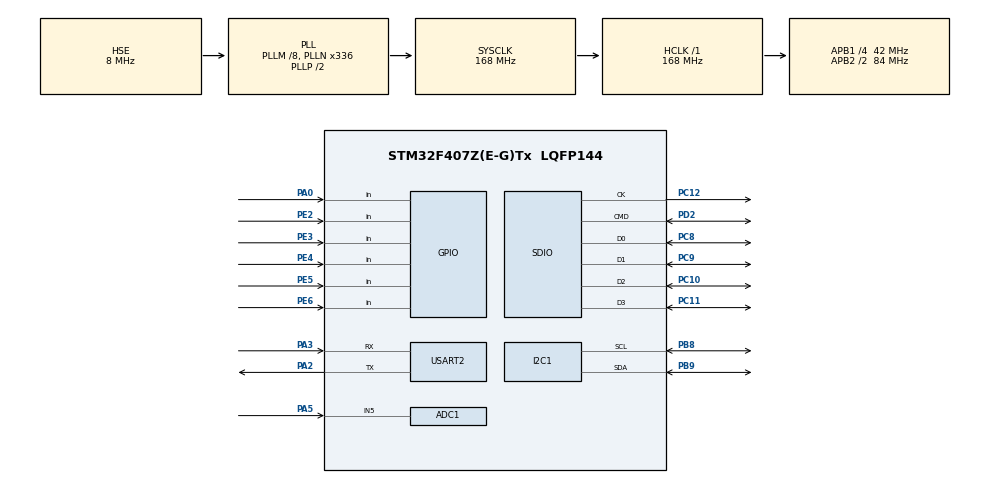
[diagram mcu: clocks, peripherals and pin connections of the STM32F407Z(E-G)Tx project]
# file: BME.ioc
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ADC1.Channel-2\#ChannelRegularConversion=ADC_CHANNEL_5
ADC1.DMAContinuousRequests=ENABLE
ADC1.EnableAnalogWatchDog=false
ADC1.ExternalTrigConv=ADC_EXTERNALTRIGCONV_T2_TRGO
ADC1.InjNumberOfConversion=0
ADC1.NbrOfConversion=1
ADC1.NbrOfConversionFlag=1
ADC1.Rank-2\#ChannelRegularConversion=1
ADC1.SamplingTime-2\#ChannelRegularConversion=ADC_SAMPLETIME_480CYCLES
ADC1.master=1
Dma.ADC1.0.Direction=DMA_PERIPH_TO_MEMORY
Dma.ADC1.0.FIFOMode=DMA_FIFOMODE_DISABLE
Dma.ADC1.0.Instance=DMA2_Stream0
Dma.ADC1.0.MemDataAlignment=DMA_MDATAALIGN_HALFWORD
Dma.ADC1.0.MemInc=DMA_MINC_ENABLE
Dma.ADC1.0.Mode=DMA_CIRCULAR
Dma.ADC1.0.PeriphDataAlignment=DMA_PDATAALIGN_HALFWORD
Dma.ADC1.0.PeriphInc=DMA_PINC_DISABLE
Dma.ADC1.0.Priority=DMA_PRIORITY_LOW
Dma.Request0=ADC1
FREERTOS.Mutexes01=i2c1Mutex,Dynamic,NULL
FREERTOS.Tasks01=defaultTask,24,128,StartDefaultTask,Default,NULL,Dynamic,NULL,NULL;MAXtask,40,512,StartTask02,Default,NULL,Dynamic,NULL,NULL;watchdogtask,32,256,StartTask03,Default,NULL,Dynamic,NULL,NULL;Uitask,24,384,StartTask04,Default,NULL,Dynamic,NULL,NULL;SDtask,8,1024,StartTask05,Default,NULL,Dynamic,NULL,NULL
FREERTOS.configCHECK_FOR_STACK_OVERFLOW=2
FREERTOS.configENABLE_FPU=1
FREERTOS.configTOTAL_HEAP_SIZE=32768
FREERTOS.configUSE_MALLOC_FAILED_HOOK=1
FREERTOS.configUSE_OS2_EVENTFLAGS_FROM_ISR=0
FREERTOS.configUSE_OS2_TIMER=0
FREERTOS.configUSE_POSIX_ERRNO=0
I2C1.I2C_Mode=I2C_Fast
IWDG.Prescaler=IWDG_PRESCALER_64
IWDG.Reload=3999
Mcu.Family=STM32F4
Mcu.Name=STM32F407Z(E-G)Tx
Mcu.Package=LQFP144
NVIC.DMA2_Stream0_IRQn=true\:5\:0\:false\:false\:true\:true\:false\:true
NVIC.PriorityGroup=NVIC_PRIORITYGROUP_4
NVIC.TIM6_DAC_IRQn=true\:5\:0\:false\:false\:true\:true\:true\:true
NVIC.TIM7_IRQn=true\:15\:0\:false\:false\:true\:false\:false\:true
NVIC.TimeBase=TIM7_IRQn
NVIC.TimeBaseIP=TIM7
PA0-WKUP.GPIO_PuPd=GPIO_PULLDOWN
PA0-WKUP.Signal=GPIO_Input
PA13.Mode=Serial_Wire
PA13.Signal=SYS_JTMS-SWDIO
PA14.Mode=Serial_Wire
PA14.Signal=SYS_JTCK-SWCLK
PA2.Mode=Asynchronous
PA2.Signal=USART2_TX
PA3.Mode=Asynchronous
PA3.Signal=USART2_RX
PA5.Signal=ADCx_IN5
PB8.Mode=I2C
PB8.Signal=I2C1_SCL
PB9.Mode=I2C
PB9.Signal=I2C1_SDA
PC10.Mode=SD_4_bits_Wide_bus
PC10.Signal=SDIO_D2
PC11.Mode=SD_4_bits_Wide_bus
PC11.Signal=SDIO_D3
PC12.Mode=SD_4_bits_Wide_bus
PC12.Signal=SDIO_CK
PC14-OSC32_IN.Mode=LSE-External-Oscillator
PC14-OSC32_IN.Signal=RCC_OSC32_IN
PC15-OSC32_OUT.Mode=LSE-External-Oscillator
PC15-OSC32_OUT.Signal=RCC_OSC32_OUT
PC8.Mode=SD_4_bits_Wide_bus
PC8.Signal=SDIO_D0
PC9.Mode=SD_4_bits_Wide_bus
PC9.Signal=SDIO_D1
PD2.Mode=SD_4_bits_Wide_bus
PD2.Signal=SDIO_CMD
PE2.GPIO_PuPd=GPIO_PULLUP
PE2.Signal=GPIO_Input
PE3.GPIO_PuPd=GPIO_PULLUP
PE3.Signal=GPIO_Input
PE4.GPIO_PuPd=GPIO_PULLUP
PE4.Signal=GPIO_Input
PE5.GPIO_PuPd=GPIO_NOPULL
PE5.Signal=GPIO_Input
PE6.Signal=GPIO_Input
PH0-OSC_IN.Mode=HSE-External-Oscillator
PH0-OSC_IN.Signal=RCC_OSC_IN
PH1-OSC_OUT.Mode=HSE-External-Oscillator
PH1-OSC_OUT.Signal=RCC_OSC_OUT
ProjectManager.HeapSize=0x200
ProjectManager.StackSize=0x400
ProjectManager.TargetToolchain=MDK-ARM V5.32
RCC.48MHZClocksFreq_Value=48000000
RCC.AHBFreq_Value=168000000
RCC.APB1CLKDivider=RCC_HCLK_DIV4
RCC.APB1Freq_Value=42000000
RCC.APB1TimFreq_Value=84000000
RCC.APB2CLKDivider=RCC_HCLK_DIV2
RCC.APB2Freq_Value=84000000
RCC.APB2TimFreq_Value=168000000
RCC.CortexFreq_Value=168000000
RCC.HCLKFreq_Value=168000000
RCC.HSE_VALUE=8000000
RCC.HSI_VALUE=16000000
RCC.PLLM=8
RCC.PLLN=336
RCC.PLLQ=7
RCC.PLLSourceVirtual=RCC_PLLSOURCE_HSE
RCC.RCC_RTC_Clock_Source=RCC_RTCCLKSOURCE_LSE
RCC.RCC_RTC_Clock_SourceVirtual=RCC_RTCCLKSOURCE_LSE
RCC.SYSCLKFreq_VALUE=168000000
RCC.SYSCLKSource=RCC_SYSCLKSOURCE_PLLCLK
RCC.VCOOutputFreq_Value=336000000
RTC.Date=3
RTC.Month=RTC_MONTH_JANUARY
RTC.WeekDay=RTC_WEEKDAY_MONDAY
SH.ADCx_IN5.0=ADC1_IN5,IN5
TIM2.Period=39
TIM2.Prescaler=8399
TIM2.TIM_MasterOutputTrigger=TIM_TRGO_UPDATE
TIM6.AutoReloadPreload=TIM_AUTORELOAD_PRELOAD_DISABLE
TIM6.Period=99
TIM6.Prescaler=8399
USART2.VirtualMode=VM_ASYNC
VP_FREERTOS_VS_CMSIS_V2.Mode=CMSIS_V2
VP_IWDG_VS_IWDG.Mode=IWDG_Activate
VP_RTC_VS_RTC_Activate.Mode=RTC_Enabled
VP_RTC_VS_RTC_Calendar.Mode=RTC_Calendar
VP_SYS_VS_tim7.Mode=TIM7
VP_TIM2_VS_ClockSourceINT.Mode=Internal
VP_TIM6_VS_ClockSourceINT.Mode=Enable_Timer
board=custom

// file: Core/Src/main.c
/* USER CODE BEGIN Header */
/**
  ******************************************************************************
  * @file           : main.c
  * @brief          : 系统启动、自检与 RTOS 调度器移交入口
  *
  * 启动顺序：HAL/时钟/外设初始化 → 读取复位与崩溃诊断 → 恢复 I2C 总线 →
  * 初始化 EEPROM、OLED 与 MAX30102 → 采集无手指基线 → 启动 ECG ADC DMA →
  * 绑定 AppState 并启动 FreeRTOS。调度器运行后，采集、界面、存储和看门狗
  * 分别由 freertos.c 中的任务负责，本文件不再承担周期业务调度。
  * @attention
  *
  * <h2><center>&copy; Copyright (c) 2026 STMicroelectronics.
  * All rights reserved.</center></h2>
  *
  * This software component is licensed by ST under BSD 3-Clause license,
  * the "License"; You may not use this file except in compliance with the
  * License. You may obtain a copy of the License at:
  *                        opensource.org/licenses/BSD-3-Clause
  *
  ******************************************************************************
  */
/* USER CODE END Header */
#include "main.h"
#include "cmsis_os.h"
#include "adc.h"
#include "dma.h"
#include "i2c.h"
#include "iwdg.h"
#include "rtc.h"
#include "sdio.h"
#include "tim.h"
#include "usart.h"
#include "gpio.h"

/* USER CODE BEGIN Includes */
#include <stdio.h>
#include <string.h>

#include "adc.h"
#include "app_data_log.h"
#include "app_display.h"
#include "app_ecg.h"
#include "app_measurement.h"
#include "app_protocol.h"
#include "app_rtos.h"
#include "app_runtime.h"
#include "app_sched_diag.h"
#include "app_sd_card.h"
#include "iwdg.h"
#include "max30102.h"
#include "ssd1306.h"
#include "app_diag.h"
#include "eeprom_store.h"
/* USER CODE END Includes */

/* USER CODE BEGIN PD */
#define APP_MAIN_LOOP_DELAY_MS      5U     /* 启动阶段基线采集轮询间隔，单位：ms */
#define APP_SENSOR_DRAIN_BUDGET     24U    /* 保留的兼容配置；运行期批量预算由测量模块管理 */
#define APP_SENSOR_BOOT_RETRY_MS    1000U  /* MAX30102 启动失败后的重试间隔，单位：ms */
#define APP_DISPLAY_SKIP_THRESHOLD  8U     /* 保留的兼容配置；运行期显示门控位于 UI 任务 */
/* USER CODE END PD */

/* USER CODE BEGIN PV */
volatile uint8_t  tim6_tick_flag = 0;          /* 100 Hz 节拍到达标志，ISR 写、任务侧诊断读取 */
static volatile uint32_t tim6_isr_count = 0U;  /* TIM6 ISR 累计次数，用于调度活性诊断 */
static AppState_t app;                         /* 各 RTOS 任务共享的应用状态唯一实例 */
/* USER CODE END PV */

void SystemClock_Config(void);
void MX_FREERTOS_Init(void);
/* USER CODE BEGIN PFP */
/** @brief 清零共享状态，并初始化测量、显示和串口协议子模块。 */
static void app_state_init(AppState_t *app);
/* USER CODE END PFP */

/* USER CODE BEGIN 0 */
/**
 * @brief  初始化共享 AppState 与不访问硬件的子模块状态。
 * @param  app 应用状态实例；为 NULL 时不执行任何操作。
 * @note   此时调度器尚未启动，不存在任务并发访问。
 */
static void app_state_init(AppState_t *app)
{
  if (app == NULL)
  {
    return;
  }

  (void)memset(app, 0, sizeof(*app));
  app_measurement_init_state(app);
  app_display_init_state(app);
  app_protocol_init();
}

/* USER CODE END 0 */

int main(void)
{
  /* USER CODE BEGIN 1 */
  char status_line[32];
  uint32_t last_status_tick;
  HAL_StatusTypeDef sensor_init_status;
  HAL_StatusTypeDef sensor_probe_status;
  uint32_t sensor_init_i2c_error;
  uint32_t sensor_init_retry_count;
  uint8_t sensor_part_id;
  /* USER CODE END 1 */

  /* MCU Configuration--------------------------------------------------------*/

  /* Reset of all peripherals, Initializes the Flash interface and the Systick. */
  HAL_Init();

  /* USER CODE BEGIN Init */
  app_state_init(&app);
  /* 尽早启用备份域写访问，确保后续故障处理可直接写 RTC 备份寄存器。 */
  APP_Diag_Init();
  /* USER CODE END Init */

  /* Configure the system clock */
  SystemClock_Config();

  /* Initialize all configured peripherals */
  MX_GPIO_Init();
  MX_I2C1_Init();
  MX_USART2_UART_Init();
  MX_RTC_Init();
  MX_TIM6_Init();
  MX_DMA_Init();
  MX_ADC1_Init();
  MX_SDIO_SD_Init();
  MX_TIM2_Init();
  MX_IWDG_Init();
  /* USER CODE BEGIN 2 */
  /* RTC 已就绪，读取上一轮崩溃记录与活体快照（RTC 备份寄存器）。 */
  APP_Diag_ReadCrashToAppState(&app);
  APP_Watchdog_Refresh();
  /* TIM6 中断稍后在 RTOS 就绪后启动，避免 ISR 在调度器启动前调用 FreeRTOS API */
  HAL_NVIC_SetPriority(TIM6_DAC_IRQn, 5, 0);
  /* 启动阶段先尝试释放可能被从设备拉低的 I2C1 总线，再访问 EEPROM、
   * OLED 和 MAX30102。计数表示恢复尝试次数，不表示本次恢复必然成功。 */
  (void)MX_I2C1_RecoverBus();
  app.i2c_recover_count++;
  eeprom_store_init();
  if (app.crash_flag != 0U)
  {
    uint32_t crash_context = ((uint32_t)app.crash_source) |
                             (((uint32_t)app.crash_task) << 8U);
    eeprom_store_log_error(EEPROM_ERR_CRASH_RECORD,
                           app.crash_phase,
                           crash_context);
  }
  ssd1306_Init();
  app_protocol_update_rtc_snapshot(&app);
  app_display_status_page(&app, "MAX30102 INIT", "SYSTEM BOOT");

  /* 传感器初始化失败时，保留串口命令与错误状态显示，便于现场排查 */
  sensor_init_retry_count = 0UL;
  sensor_init_status = max30102_init();
  while (sensor_init_status != HAL_OK)
  {
    sensor_init_retry_count++;
    sensor_init_i2c_error = HAL_I2C_GetError(&hi2c1);
    sensor_part_id = 0U;
    sensor_probe_status = max30102_read_reg(MAX30102_REG_PART_ID, &sensor_part_id);
    app_protocol_poll_uart_commands(&app);
    app_display_handle_buttons(&app);
    app_protocol_update_rtc_snapshot(&app);
    if (sensor_probe_status == HAL_OK)
    {
      (void)snprintf(status_line,
                     sizeof(status_line),
                     "S%u E%lu ID%02X R%lu",
                     (unsigned int)sensor_init_status,
                     (unsigned long)sensor_init_i2c_error,
                     (unsigned int)sensor_part_id,
                     (unsigned long)sensor_init_retry_count);
    }
    else
    {
      (void)snprintf(status_line,
                     sizeof(status_line),
                     "S%u E%lu P%u R%lu",
                     (unsigned int)sensor_init_status,
                     (unsigned long)sensor_init_i2c_error,
                     (unsigned int)sensor_probe_status,
                     (unsigned long)sensor_init_retry_count);
    }
    app_display_status_page(&app, "MAX30102 ERR", status_line);
    APP_Watchdog_Refresh();
    HAL_Delay(APP_SENSOR_BOOT_RETRY_MS);
    APP_Watchdog_Refresh();
    (void)MX_I2C1_RecoverBus();
    app.i2c_recover_count++;
    sensor_init_status = max30102_init();
  }

  /* MAX 恢复过程中可能执行了 I2C 总线恢复，OLED 可能在前面初始化失败。
   * 总线恢复后重新初始化 OLED，避免黑屏。 */
  if (app.oled_reinit_count < 0xFFFFFFFFUL)
  {
    app.oled_reinit_count++;
  }
  ssd1306_Init();

  app_measurement_reset_runtime();
  last_status_tick = 0U;

  /* SD 日志采用懒启动：此处只清零 RAM 状态，不挂载文件系统。
   * 物理卡访问由低优先级 SDtask 在测量安全窗口内执行，避免坏卡或无卡
   * 阻塞 MAX30102、OLED、RTC、按键和串口的启动流程。 */
  APP_DataLog_Init();
  app_runtime_update_sd_log_status(&app);
  APP_Watchdog_Refresh();

  /* 上电先采集“无手指”背景，建立后续接触检测使用的 IR 基线。 */
  while (app_measurement_baseline_ready() == 0U)
  {
    app_protocol_poll_uart_commands(&app);
    app_display_handle_buttons(&app);
    /* 排空所有待处理样本，使基线窗口始终与传感器 FIFO 对齐。 */
    while ((app_measurement_baseline_ready() == 0U) &&
           (app_measurement_collect_baseline_sample(&app) != 0U))
    {
      APP_Watchdog_Refresh();
    }

    app_measurement_service_sensor_watchdog(&app);

    if ((HAL_GetTick() - last_status_tick) >= 200U)
    {
      last_status_tick = HAL_GetTick();
      app_protocol_update_rtc_snapshot(&app);
      (void)snprintf(status_line,
                     sizeof(status_line),
                     "BASE %uP RC:%lu",
                     (unsigned int)app_measurement_get_baseline_progress_percent(),
                     (unsigned long)app.sensor_recover_count);
      app_display_status_page(&app, "KEEP FINGER OFF", status_line);
    }
    APP_Watchdog_Refresh();
    HAL_Delay(APP_MAIN_LOOP_DELAY_MS);
  }

  /* 基线就绪后为运行期跟踪器播种，并立即发送一帧初始状态。 */
  app.baseline_ir = app_measurement_get_baseline_average();
  app.baseline_range_ir = app_measurement_get_baseline_range();
  {
    uint32_t initial_noise_seed = (app.baseline_range_ir / 8U) + 1U;

    if (initial_noise_seed < 512U)
    {
      initial_noise_seed = 512U;
    }
    else if (initial_noise_seed > 3000U)
    {
      initial_noise_seed = 3000U;
    }

    app_measurement_seed_baseline_tracking(app.baseline_ir, initial_noise_seed);
  }
  app.baseline_ir = app_measurement_get_tracked_baseline();
  app_protocol_send_sensor_report(&app);

  /* 根据采集到的波动范围提示”稳定” / “噪声偏大” */
  (void)snprintf(status_line, sizeof(status_line), "BASE:%lu", (unsigned long)app.baseline_ir);
  if (app_measurement_baseline_is_stable() != 0U)
  {
    app_display_status_page(&app, "BASELINE OK", status_line);
  }
  else
  {
    app_display_status_page(&app, "BASELINE NOISY", status_line);
  }

  app.report_due = 1U;
  app.display_refresh_requested = 1U;

  /* ECG ADC 延后到 PPG 基线完成后启动，避免启动阶段尚无 MAXtask 消费者时
   * 环形 DMA 缓冲被覆盖。启动后由 TIM2 以 250 Hz 触发 ADC1 采样。 */
  app_ecg_adc_start();
  app_rtos_bind_state(&app);
  /* USER CODE END 2 */

  /* Init scheduler */
  osKernelInitialize();  /* Call init function for freertos objects (in freertos.c) */
  MX_FREERTOS_Init();
  /* Start scheduler */
  osKernelStart();

  /* We should never get here as control is now taken by the scheduler */
  /* Infinite loop */
  /* USER CODE BEGIN WHILE */
  while (1)
  {
    HAL_Delay(1000U);
    /* USER CODE END WHILE */

  }
}

void SystemClock_Config(void)
{
  RCC_OscInitTypeDef RCC_OscInitStruct = {0};
  RCC_ClkInitTypeDef RCC_ClkInitStruct = {0};

  /** Configure the main internal regulator output voltage
  */
  __HAL_RCC_PWR_CLK_ENABLE();
  __HAL_PWR_VOLTAGESCALING_CONFIG(PWR_REGULATOR_VOLTAGE_SCALE1);
  /** Initializes the RCC Oscillators according to the specified parameters
  * in the RCC_OscInitTypeDef structure.
  */
  RCC_OscInitStruct.OscillatorType = RCC_OSCILLATORTYPE_LSI|RCC_OSCILLATORTYPE_HSE
                              |RCC_OSCILLATORTYPE_LSE;
  RCC_OscInitStruct.HSEState = RCC_HSE_ON;
  RCC_OscInitStruct.LSEState = RCC_LSE_ON;
  RCC_OscInitStruct.LSIState = RCC_LSI_ON;
  RCC_OscInitStruct.PLL.PLLState = RCC_PLL_ON;
  RCC_OscInitStruct.PLL.PLLSource = RCC_PLLSOURCE_HSE;
  RCC_OscInitStruct.PLL.PLLM = 8;
  RCC_OscInitStruct.PLL.PLLN = 336;
  RCC_OscInitStruct.PLL.PLLP = RCC_PLLP_DIV2;
  RCC_OscInitStruct.PLL.PLLQ = 7;
  if (HAL_RCC_OscConfig(&RCC_OscInitStruct) != HAL_OK)
  {
    Error_Handler();
  }
  /** Initializes the CPU, AHB and APB buses clocks
  */
  RCC_ClkInitStruct.ClockType = RCC_CLOCKTYPE_HCLK|RCC_CLOCKTYPE_SYSCLK
                              |RCC_CLOCKTYPE_PCLK1|RCC_CLOCKTYPE_PCLK2;
  RCC_ClkInitStruct.SYSCLKSource = RCC_SYSCLKSOURCE_PLLCLK;
  RCC_ClkInitStruct.AHBCLKDivider = RCC_SYSCLK_DIV1;
  RCC_ClkInitStruct.APB1CLKDivider = RCC_HCLK_DIV4;
  RCC_ClkInitStruct.APB2CLKDivider = RCC_HCLK_DIV2;

  if (HAL_RCC_ClockConfig(&RCC_ClkInitStruct, FLASH_LATENCY_5) != HAL_OK)
  {
    Error_Handler();
  }
}

/* USER CODE BEGIN 4 */

uint32_t APP_TIM6_GetIsrCount(void)
{
  return tim6_isr_count;
}

/* USER CODE END 4 */

void HAL_TIM_PeriodElapsedCallback(TIM_HandleTypeDef *htim)
{
  /* USER CODE BEGIN Callback 0 */
  if ((htim != NULL) && (htim->Instance == TIM6))
  {
    /* TIM6 是 PPG/ECG 服务的 100 Hz 软件节拍：ISR 只更新时间戳和就绪标志，
     * 再用任务通知唤醒 MAXtask；所有 I2C 访问与算法处理均留在任务上下文。 */
    tim6_isr_count++;
    tim6_tick_flag = 1U;
    /* 默认纯轮询配置下也复用该就绪标志；启用外部 INT 时，EXTI 回调同样置位。 */
    max30102_mark_data_ready_from_isr();
    app_rtos_notify_max_from_isr();
    return;
  }
  /* USER CODE END Callback 0 */
  if (htim->Instance == TIM7) {
    HAL_IncTick();
  }
}

void Error_Handler(void)
{
  /* USER CODE BEGIN Error_Handler_Debug */
  APP_Diag_CaptureCrash(DIAG_CRASH_ERROR_HANDLER, 0U, 0U);
  __disable_irq();
  while (1)
  {
  }
  /* USER CODE END Error_Handler_Debug */
}

/************************ (C) COPYRIGHT STMicroelectronics *****END OF FILE****/

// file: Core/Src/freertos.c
/* USER CODE BEGIN Header */
/**
  ******************************************************************************
  * File Name          : freertos.c
  * Description        : FreeRTOS 任务、优先级与共享外设同步
  *
  * 任务分工：TIM6 ISR 每 10 ms 通知高优先级 MAXtask；MAXtask 消费 ECG DMA、
  * 排空 MAX30102 FIFO 并推进测量算法；watchdogtask 检查任务心跳和 TIM6 活性；
  * Uitask 处理串口、按键、OLED 与统计持久化；低优先级 SDtask 仅在安全窗口
  * 写卡。MAX30102 与 OLED 共用 I2C1，因此所有运行期总线访问由互斥量串行化。
  ******************************************************************************
  * @attention
  *
  * <h2><center>&copy; Copyright (c) 2026 STMicroelectronics.
  * All rights reserved.</center></h2>
  *
  * This software component is licensed by ST under Ultimate Liberty license
  * SLA0044, the "License"; You may not use this file except in compliance with
  * the License. You may obtain a copy of the License at:
  *                             www.st.com/SLA0044
  *
  ******************************************************************************
  */
/* USER CODE END Header */

#include "FreeRTOS.h"
#include "task.h"
#include "main.h"
#include "cmsis_os.h"

/* USER CODE BEGIN Includes */
#include "app_rtos.h"
#include "app_runtime.h"
#include "app_data_log.h"
#include "app_display.h"
#include "app_ecg.h"
#include "app_measurement.h"
#include "app_protocol.h"
#include "iwdg.h"
#include "max30102.h"
#include "app_diag.h"
#include "app_sched_diag.h"
#include "tim.h"
/* USER CODE END Includes */

/* USER CODE BEGIN PD */
#define APP_RTOS_MAX_NOTIFY_TIMEOUT_MS 20U    /* MAXtask 无通知时的兜底唤醒周期，单位：ms */
#define APP_RTOS_MAX_I2C_TIMEOUT_MS    8U     /* MAXtask 等待 I2C1 互斥量的上限，单位：ms */
#define APP_RTOS_UI_PERIOD_MS          20U    /* UI 任务基础周期，单位：ms */
#define APP_RTOS_DISPLAY_PERIOD_MS     200U   /* 常规 OLED 刷新周期，单位：ms */
#define APP_RTOS_SD_PERIOD_MS          20U    /* SD 任务状态机轮询周期，单位：ms */
#define APP_RTOS_WATCHDOG_PERIOD_MS    50U    /* 软件活性看门狗检查周期，单位：ms */
#define APP_DISPLAY_SKIP_THRESHOLD     8U     /* 单批 FIFO 较大时暂缓 OLED 刷新 */
#define APP_DISPLAY_FORCE_REFRESH_MS   1000U  /* 连续暂缓达到该时长后强制刷新，单位：ms */
#define APP_WDT_MAX_DEADLINE_MS          500U
#define APP_WDT_UI_DEADLINE_MS          1000U
#define APP_WDT_SD_DEADLINE_MS          1500U
#define APP_WDT_SD_FLUSH_DEADLINE_MS    7000U
#define APP_WDT_TIM6_DEADLINE_MS         500U
#ifndef APP_WDT_INJECT_FREEZE_MAX
#define APP_WDT_INJECT_FREEZE_MAX          0U
#endif
#ifndef APP_WDT_INJECT_FREEZE_UI
#define APP_WDT_INJECT_FREEZE_UI           0U
#endif
#ifndef APP_WDT_INJECT_FREEZE_SD
#define APP_WDT_INJECT_FREEZE_SD           0U
#endif
#ifndef APP_WDT_INJECT_FREEZE_I2C
#define APP_WDT_INJECT_FREEZE_I2C          0U
#endif
/* USER CODE END PD */

/* USER CODE BEGIN Variables */
static AppState_t *app_rtos_state = NULL;                 /* main() 绑定的共享状态实例 */
static volatile uint8_t app_rtos_last_fifo_batch_count = 0U; /* 最近一次 FIFO 排空量，供 UI 门控 */
static volatile uint8_t app_rtos_ready = 0U;              /* 置位后 ISR 才可发送任务通知 */

void app_rtos_mark_ready(void)
{
  app_rtos_ready = 1U;
}
/* USER CODE END Variables */
/* definition of defaultTask */
osThreadId_t defaultTaskHandle;
const osThreadAttr_t defaultTask_attributes = {
  .name = "defaultTask",
  .stack_size = 128 * 4,
  .priority = (osPriority_t) osPriorityNormal,
};
/* definition of MAXtask */
osThreadId_t MAXtaskHandle;
const osThreadAttr_t MAXtask_attributes = {
  .name = "MAXtask",
  .stack_size = 512 * 4,
  .priority = (osPriority_t) osPriorityHigh,
};
/* definition of watchdogtask */
osThreadId_t watchdogtaskHandle;
const osThreadAttr_t watchdogtask_attributes = {
  .name = "watchdogtask",
  .stack_size = 256 * 4,
  .priority = (osPriority_t) osPriorityAboveNormal,
};
/* definition of Uitask */
osThreadId_t UitaskHandle;
const osThreadAttr_t Uitask_attributes = {
  .name = "Uitask",
  .stack_size = 384 * 4,
  .priority = (osPriority_t) osPriorityNormal,
};
/* definition of SDtask */
osThreadId_t SDtaskHandle;
const osThreadAttr_t SDtask_attributes = {
  .name = "SDtask",
  .stack_size = 1024 * 4,
  .priority = (osPriority_t) osPriorityLow,
};
/* definition of i2c1Mutex */
osMutexId_t i2c1MutexHandle;
const osMutexAttr_t i2c1Mutex_attributes = {
  .name = "i2c1Mutex"
};

/* USER CODE BEGIN FunctionPrototypes */
static void app_rtos_service_max(AppState_t *app);
/* USER CODE END FunctionPrototypes */

void StartDefaultTask(void *argument);
void StartTask02(void *argument);
void StartTask03(void *argument);
void StartTask04(void *argument);
void StartTask05(void *argument);

void MX_FREERTOS_Init(void); /* (MISRA C 2004 rule 8.1) */

/* 钩子函数原型 */
void vApplicationStackOverflowHook(xTaskHandle xTask, signed char *pcTaskName);
void vApplicationMallocFailedHook(void);

/* USER CODE BEGIN 4 */
/**
 ******************************************************************************
 * @brief  绑定应用程序状态指针以供 RTOS 任务访问。
 * @param  state 指向全局 AppState 结构体的指针
 * @return 无。
 * @note  必须在启动时、任何任务运行之前调用一次。
 ******************************************************************************
 */
void app_rtos_bind_state(AppState_t *state)
{
  app_rtos_state = state;
}

/**
 ******************************************************************************
 * @brief  获取已绑定的应用程序状态指针。
 * @param  无。
 * @return 指向 AppState 结构体的指针，若尚未绑定则返回 NULL。
 * @note  所有任务通过此函数访问共享的应用程序状态。
 ******************************************************************************
 */
AppState_t *app_rtos_get_state(void)
{
  return app_rtos_state;
}

/**
 ******************************************************************************
 * @brief  从中断上下文通知 MAX30102 处理任务。
 * @param  无。
 * @return 无。
 * @note  使用 vTaskNotifyGiveFromISR；若尚未初始化则为空操作。
 ******************************************************************************
 */
void app_rtos_notify_max_from_isr(void)
{
  BaseType_t higher_priority_task_woken = pdFALSE;

  if ((app_rtos_ready == 0U) || (MAXtaskHandle == NULL))
  {
    return;
  }

  vTaskNotifyGiveFromISR((TaskHandle_t)MAXtaskHandle,
                         &higher_priority_task_woken);
  portYIELD_FROM_ISR(higher_priority_task_woken);
}

/**
 ******************************************************************************
 * @brief  带超时地获取 I2C1 总线互斥锁。
 * @param  timeout_ms 最大等待时间（毫秒）
 * @return 成功返回 1，等待超时返回 0。
 * @note  序列化 MAXtask 与 Uitask 之间的 I2C1 访问。调度器启动前互斥量
 *        尚未创建，此时返回 1，以允许 main() 完成单线程启动访问。
 ******************************************************************************
 */
uint8_t app_rtos_i2c_acquire(uint32_t timeout_ms)
{
  if (i2c1MutexHandle == NULL)
  {
    return 1U;
  }

  return (osMutexAcquire(i2c1MutexHandle, timeout_ms) == osOK) ? 1U : 0U;
}

/**
 ******************************************************************************
 * @brief  释放 I2C1 总线互斥锁。
 * @param  无。
 * @return 无。
 * @note  句柄为 NULL 时调用安全（空操作）。
 ******************************************************************************
 */
void app_rtos_i2c_release(void)
{
  if (i2c1MutexHandle != NULL)
  {
    (void)osMutexRelease(i2c1MutexHandle);
  }
}

/**
 ******************************************************************************
 * @brief  运行一次采集服务周期（ECG 消费、PPG FIFO 排空与传感器看门狗）。
 * @param  app 指向应用程序状态的指针
 * @return 无。
 * @note  从 MAX 任务调用；内部获取 I2C 互斥锁。
 *        更新阶段跟踪变量以便诊断可见。
 ******************************************************************************
 */
static void app_rtos_service_max(AppState_t *app)
{
  uint8_t fifo_batch_count = 0U;

  if (app == NULL)
  {
    return;
  }

  app->max_task_phase = PHASE_MAX_ECG;
  (void)app_ecg_process_samples(app);

  app->max_task_phase = PHASE_MAX_FIFO_CHECK;
  if (max30102_should_service_fifo() != 0U)
  {
    app->max_task_phase = PHASE_MAX_I2C_ACQ;
    if (app_rtos_i2c_acquire(APP_RTOS_MAX_I2C_TIMEOUT_MS) != 0U)
    {
      app->max_task_phase = PHASE_MAX_FIFO_DRAIN;
#if (APP_WDT_INJECT_FREEZE_I2C != 0U)
      app->max_task_phase = PHASE_MAX_I2C_ACQ;
      osDelay(10000U);
#endif
      fifo_batch_count = app_measurement_drain_fifo_batch(app);

      if ((fifo_batch_count == 0U) &&
          (app->sensor_last_read_status == (uint8_t)APP_MEASUREMENT_READ_ERROR))
      {
        app->max_task_phase = PHASE_MAX_RECOVERY;
        app_measurement_recover_sensor(app);
      }

      app_rtos_i2c_release();
    }
    else if (app->sensor_read_busy_count < 0xFFFFFFFFUL)
    {
      app->sensor_read_busy_count++;
    }
  }

  app_rtos_last_fifo_batch_count = fifo_batch_count;

  app->max_task_phase = PHASE_MAX_WATCHDOG;
  if (app_rtos_i2c_acquire(0U) != 0U)
  {
    app_measurement_service_sensor_watchdog(app);
    app_rtos_i2c_release();
  }

  app_measurement_service_time(app);
}

/**
 ******************************************************************************
 * @brief  FreeRTOS 栈溢出钩子函数。
 * @param  xTask 溢出任务的句柄（可能已损坏）
 * @param  pcTaskName 溢出任务的名称（可能已损坏）
 * @return 无。
 * @note  捕获诊断快照，然后进入无限循环，依赖 IWDG 复位系统。
 ******************************************************************************
 */
void vApplicationStackOverflowHook(xTaskHandle xTask, signed char *pcTaskName)
{
   /* 在进入未定义行为区域之前记录崩溃。
    * 栈溢出意味着任务的 TCB 可能已损坏。 */
   (void)xTask;
   (void)pcTaskName;
   APP_Diag_CaptureCrash(DIAG_CRASH_STACKOVF, 0U, 0U);
   /* 不返回 — 陷入 HardFault 或 IWDG 复位 */
   for (;;) {}
}
/* USER CODE END 4 */

/* USER CODE BEGIN 5 */
/**
 ******************************************************************************
 * @brief  FreeRTOS malloc 失败钩子函数。
 * @param  无。
 * @return 无。
 * @note  捕获诊断快照，然后进入无限循环，依赖 IWDG 复位系统。
 ******************************************************************************
 */
void vApplicationMallocFailedHook(void)
{
   APP_Diag_CaptureCrash(DIAG_CRASH_MALLOCFAIL, 0U, 0U);
   for (;;) {}
}
/* USER CODE END 5 */

/**
  * @brief  FreeRTOS 初始化
  * @param  无
  * @retval 无
  */
void MX_FREERTOS_Init(void) {
  /* 创建互斥锁 */
  /* 创建 i2c1Mutex */
  i2c1MutexHandle = osMutexNew(&i2c1Mutex_attributes);

  /* USER CODE BEGIN RTOS_MUTEX */
  /* 添加互斥锁，... */
  /* USER CODE END RTOS_MUTEX */

  /* USER CODE BEGIN RTOS_SEMAPHORES */
  /* 添加信号量，... */
  /* USER CODE END RTOS_SEMAPHORES */

  /* USER CODE BEGIN RTOS_TIMERS */
  /* 启动定时器，添加新定时器，... */
  /* USER CODE END RTOS_TIMERS */

  /* USER CODE BEGIN RTOS_QUEUES */
  /* 添加队列，... */
  /* USER CODE END RTOS_QUEUES */

  /* 创建线程 */
  /* 创建 defaultTask */
  defaultTaskHandle = osThreadNew(StartDefaultTask, NULL, &defaultTask_attributes);

  /* 创建 MAXtask */
  MAXtaskHandle = osThreadNew(StartTask02, NULL, &MAXtask_attributes);

  /* 创建 watchdogtask */
  watchdogtaskHandle = osThreadNew(StartTask03, NULL, &watchdogtask_attributes);

  /* 创建 Uitask */
  UitaskHandle = osThreadNew(StartTask04, NULL, &Uitask_attributes);

  /* 创建 SDtask */
  SDtaskHandle = osThreadNew(StartTask05, NULL, &SDtask_attributes);

  /* USER CODE BEGIN RTOS_THREADS */
  /* 添加线程，... */
  /* USER CODE END RTOS_THREADS */

  /* USER CODE BEGIN RTOS_EVENTS */
  /* 添加事件，... */
  /* USER CODE END RTOS_EVENTS */

}

/* USER CODE BEGIN Header_StartDefaultTask */
/**
  * @brief  实现 defaultTask 线程的函数。
  * @param  argument: 未使用
  * @retval 无
  */
/* USER CODE END Header_StartDefaultTask */
void StartDefaultTask(void *argument)
{
  /* USER CODE BEGIN StartDefaultTask */
  /* 无限循环 */
  for(;;)
  {
    osDelay(1000);
  }
  /* USER CODE END StartDefaultTask */
}

/* USER CODE BEGIN Header_StartTask02 */
/**
* @brief 实现 MAXtask 线程的函数。
* @param argument: 未使用
* @retval 无
*/
/* USER CODE END Header_StartTask02 */
void StartTask02(void *argument)
{
  /* USER CODE BEGIN StartTask02 */
  static uint8_t  first_run       = 1U;
  static uint32_t last_wake_tick  = 0U;
  uint32_t now_tick;
  uint32_t gap_ms;
  uint32_t notified;
  /* 无限循环 */
  for(;;)
  {
    if (app_rtos_state == NULL)
    {
      osDelay(10);
      continue;
    }

    /* 调度器已启动，首次执行时闭合 TIM6 100 Hz 调度闭环。
     * 必须在这里而非 MX_FREERTOS_Init() 中启动 TIM6，
     * 否则 ISR 可能在 osKernelStart() 之前触发并调用 FreeRTOS API。 */
    if (first_run != 0U)
    {
      first_run = 0U;
      app_rtos_mark_ready();
      HAL_TIM_Base_Start_IT(&htim6);
    }

    app_rtos_state->max_task_phase = PHASE_MAX_NOTIFY_WAIT;
    notified = ulTaskNotifyTake(pdTRUE,
                                pdMS_TO_TICKS(APP_RTOS_MAX_NOTIFY_TIMEOUT_MS));

    /* 调度可观测性：记录超时唤醒和最大唤醒间隔 */
    if (notified == 0U)
    {
      app_rtos_state->max_task_timeout_count++;
    }

    now_tick = xTaskGetTickCount();
    if (last_wake_tick != 0U)
    {
      gap_ms = (now_tick - last_wake_tick) * (uint32_t)portTICK_PERIOD_MS;
      if (gap_ms > app_rtos_state->max_task_gap_ms)
      {
        app_rtos_state->max_task_gap_ms = gap_ms;
      }
    }
    last_wake_tick = now_tick;

    app_rtos_service_max(app_rtos_state);
    app_rtos_state->max_task_phase = PHASE_MAX_HEARTBEAT;
#if (APP_WDT_INJECT_FREEZE_MAX == 0U)
    app_rtos_state->max_task_heartbeat++;
#endif
  }
  /* USER CODE END StartTask02 */
}

/* USER CODE BEGIN Header_StartTask03 */
/**
 * @brief 监测 MAX/UI/SD 任务心跳与 TIM6 节拍，并在全部健康时刷新 IWDG。
 * @param argument 未使用。
 * @note  首次发现超时后锁存故障来源并停止刷新硬件看门狗，由 IWDG 完成复位；
 *        SD 延迟排空允许更长截止时间，以覆盖 f_sync/f_close 的阻塞时间。
 * @retval 无
*/
/* USER CODE END Header_StartTask03 */
void StartTask03(void *argument)
{
  /* USER CODE BEGIN StartTask03 */
  uint8_t initialized = 0U;
  uint8_t watchdog_latched = 0U;
  uint32_t last_max_hb = 0U;
  uint32_t last_ui_hb = 0U;
  uint32_t last_sd_hb = 0U;
  uint32_t last_tim6 = 0U;
  uint32_t last_max_tick = 0U;
  uint32_t last_ui_tick = 0U;
  uint32_t last_sd_tick = 0U;
  uint32_t last_tim6_tick = 0U;
  /* 无限循环 */
  for(;;)
  {
    static uint8_t liveness_div = 0U;
    uint32_t now = HAL_GetTick();
    uint32_t tim6_count = APP_TIM6_GetIsrCount();
    uint32_t sd_deadline = APP_WDT_SD_DEADLINE_MS;
    uint8_t fault_task = 0U;
    uint8_t fault_phase = 0U;

    if (app_rtos_state != NULL) {
      app_rtos_state->wdt_task_phase = PHASE_WDT_CHECK;
      app_rtos_state->tim6_isr_heartbeat = tim6_count;
    }

    if ((app_rtos_state != NULL) && (initialized == 0U))
    {
      initialized = 1U;
      last_max_hb = app_rtos_state->max_task_heartbeat;
      last_ui_hb = app_rtos_state->ui_task_heartbeat;
      last_sd_hb = app_rtos_state->sd_task_heartbeat;
      last_tim6 = tim6_count;
      last_max_tick = now;
      last_ui_tick = now;
      last_sd_tick = now;
      last_tim6_tick = now;
    }

    if ((app_rtos_state != NULL) && (initialized != 0U))
    {
      if (app_rtos_state->max_task_heartbeat != last_max_hb)
      {
        last_max_hb = app_rtos_state->max_task_heartbeat;
        last_max_tick = now;
      }
      if (app_rtos_state->ui_task_heartbeat != last_ui_hb)
      {
        last_ui_hb = app_rtos_state->ui_task_heartbeat;
        last_ui_tick = now;
      }
      if (app_rtos_state->sd_task_heartbeat != last_sd_hb)
      {
        last_sd_hb = app_rtos_state->sd_task_heartbeat;
        last_sd_tick = now;
      }
      if (tim6_count != last_tim6)
      {
        last_tim6 = tim6_count;
        last_tim6_tick = now;
      }

      if (app_rtos_state->sd_task_phase == PHASE_SD_FLUSH)
      {
        sd_deadline = APP_WDT_SD_FLUSH_DEADLINE_MS;
      }

      if ((now - last_max_tick) > APP_WDT_MAX_DEADLINE_MS)
      {
        fault_task = 1U;
        fault_phase = app_rtos_state->max_task_phase;
      }
      else if ((now - last_ui_tick) > APP_WDT_UI_DEADLINE_MS)
      {
        fault_task = 3U;
        fault_phase = app_rtos_state->ui_task_phase;
      }
      else if ((now - last_sd_tick) > sd_deadline)
      {
        fault_task = 4U;
        fault_phase = app_rtos_state->sd_task_phase;
      }
      else if ((now - last_tim6_tick) > APP_WDT_TIM6_DEADLINE_MS)
      {
        fault_task = 6U;
      }
    }

    if ((fault_task != 0U) && (watchdog_latched == 0U))
    {
      watchdog_latched = 1U;
      app_rtos_state->watchdog_fault_count++;
      app_rtos_state->watchdog_fault_task = fault_task;
      app_rtos_state->watchdog_fault_phase = fault_phase;
      APP_Diag_SaveLiveness(app_rtos_state);
      APP_Diag_CaptureCrash(DIAG_CRASH_WATCHDOG, fault_task, fault_phase);
    }

    if (watchdog_latched == 0U)
    {
      if (app_rtos_state != NULL) {
        app_rtos_state->wdt_task_phase = PHASE_WDT_REFRESH;
      }
      APP_Watchdog_Refresh();
    }

    /* 每 20 拍 (~1s) 保存一次活体快照到 BKP */
    liveness_div++;
    if ((app_rtos_state != NULL) && (liveness_div >= 20U))
    {
      liveness_div = 0U;
      APP_Diag_SaveLiveness(app_rtos_state);
    }

    if (app_rtos_state != NULL) {
      app_rtos_state->wdt_task_phase = PHASE_WDT_DELAY;
    }
    osDelay(APP_RTOS_WATCHDOG_PERIOD_MS);
  }
  /* USER CODE END StartTask03 */
}

/* USER CODE BEGIN Header_StartTask04 */
/**
 * @brief 处理串口命令、按键、OLED 刷新、测量上报和运行统计持久化。
 * @param argument 未使用。
 * @note  OLED 刷新会在 FIFO 压力较高时暂缓；连续暂缓达到上限后强制刷新，
 *        以兼顾采集实时性和界面可见性。
 * @retval 无
*/
/* USER CODE END Header_StartTask04 */
void StartTask04(void *argument)
{
  /* USER CODE BEGIN StartTask04 */
  uint32_t last_display_tick = 0U;
  uint32_t last_skip_tick = 0U;

  /* 无限循环 */
  for(;;)
  {
    uint32_t now;
    uint8_t should_skip;
    uint8_t force_refresh;

    if (app_rtos_state == NULL)
    {
      osDelay(10);
      continue;
    }

    app_rtos_state->ui_task_phase = PHASE_UI_IDLE;
#if (APP_WDT_INJECT_FREEZE_UI == 0U)
    app_rtos_state->ui_task_heartbeat++;
#endif

    app_rtos_state->ui_task_phase = PHASE_UI_POLL_UART;
    app_protocol_poll_uart_commands(app_rtos_state);

    app_rtos_state->ui_task_phase = PHASE_UI_BUTTONS;
    app_display_handle_buttons(app_rtos_state);

    now = HAL_GetTick();
    app_rtos_state->ui_task_phase = PHASE_UI_DISPLAY_CHECK;
    if ((now - last_display_tick) >= APP_RTOS_DISPLAY_PERIOD_MS)
    {
      last_display_tick = now;
      app_rtos_state->display_refresh_requested = 1U;
    }

    if (app_rtos_state->display_refresh_requested != 0U)
    {
      should_skip = ((app_rtos_last_fifo_batch_count >= APP_DISPLAY_SKIP_THRESHOLD) ||
                     (app_measurement_should_skip_display(app_rtos_state) != 0U));

      /* 强制刷新：连续跳过超过 APP_DISPLAY_FORCE_REFRESH_MS，忽略所有门控 */
      force_refresh = 0U;
      if (should_skip != 0U)
      {
        if (last_skip_tick == 0U)
        {
          last_skip_tick = now;
        }
        else if ((now - last_skip_tick) >= APP_DISPLAY_FORCE_REFRESH_MS)
        {
          force_refresh = 1U;
          app_rtos_state->ui_forced_count++;
        }
      }

      if ((should_skip == 0U) || (force_refresh != 0U))
      {
        app_rtos_state->ui_task_phase = PHASE_UI_DISPLAY_REFRESH;
        if (app_rtos_i2c_acquire(0U) != 0U)
        {
          app_runtime_refresh_display_if_needed(app_rtos_state);
          app_rtos_i2c_release();
          last_skip_tick = 0U;
        }
        /* 拿不到 I2C mutex 就下轮再试，不清 display_refresh_requested */
      }
      else
      {
        app_rtos_state->display_skipped_count++;
        app_rtos_state->last_ui_skip_tick = now;
      }
    }
    else
    {
      last_skip_tick = 0U;
    }

    app_rtos_state->ui_task_phase = PHASE_UI_REPORT_SEND;
    app_runtime_send_report_if_due(app_rtos_state);
    app_runtime_service_eeprom_stats(app_rtos_state);

    /* 每 20 拍 (~400ms) 采集一次栈水印 */
    {
      static uint8_t hwm_div = 0U;
      hwm_div++;
      if (hwm_div >= 20U)
      {
        uint16_t hwm_m, hwm_u, hwm_s, hwm_w;
        hwm_div = 0U;
        (void)APP_Diag_SampleStackHWM(&hwm_m, &hwm_u, &hwm_s, &hwm_w);
        app_rtos_state->max_task_stack_hwm = hwm_m;
        app_rtos_state->ui_task_stack_hwm  = hwm_u;
        app_rtos_state->sd_task_stack_hwm  = hwm_s;
        app_rtos_state->wdt_task_stack_hwm = hwm_w;
        /* 持久化到 BKP ：若最小剩余超过 0 则写入，否则保留上次值 */
        if ((hwm_m > 0U) || (hwm_u > 0U) || (hwm_s > 0U) || (hwm_w > 0U))
        {
          APP_Diag_SaveStackHWMBkp(&hwm_m, &hwm_u, &hwm_s, &hwm_w);
        }
      }
    }

    app_rtos_state->ui_task_phase = PHASE_UI_DELAY;
    osDelay(APP_RTOS_UI_PERIOD_MS);
  }
  /* USER CODE END StartTask04 */
}

/* USER CODE BEGIN Header_StartTask05 */
/**
 * @brief 在低优先级任务中推进 SD 分片写入或测量停止后的延迟排空。
 * @param argument 未使用。
 * @note  手指在位期间禁止 f_write/f_sync/f_close；实时采集路径只写 RAM 环形缓冲，
 *        物理 I/O 必须通过本任务的安全窗口判定。
 * @retval 无
*/
/* USER CODE END Header_StartTask05 */
void StartTask05(void *argument)
{
  /* USER CODE BEGIN StartTask05 */
  /* 无限循环 */
  for(;;)
  {
    if (app_rtos_state == NULL)
    {
      osDelay(10);
      continue;
    }

#if (APP_WDT_INJECT_FREEZE_SD == 0U)
    app_rtos_state->sd_task_heartbeat++;
#endif
    app_rtos_state->sd_task_phase = PHASE_SD_SET_ACTIVE;
    /* 只要已确认手指在位就锁住所有物理 SD I/O；接触稳定期和传感器
     * 恢复期也属于采样优先窗口。 */
    APP_DataLog_SetMeasurementActive(app_rtos_state->finger_present != 0U);

    app_rtos_state->sd_task_phase = PHASE_SD_SAFE_CHECK;
    if (APP_DataLog_IsFlushPending() != 0U)
    {
      /* 停止排空不依赖样本新鲜度；传感器停止产样或异常时也必须能收尾。
       * 已确认手指在位时仍禁止 f_write/f_sync/f_close。 */
      if (app_runtime_sd_flush_safe(app_rtos_state) != 0U)
      {
        app_rtos_state->sd_task_phase = PHASE_SD_FLUSH;
        (void)APP_DataLog_ServiceDeferredStop();
      }
    }
    else if (app_runtime_sd_service_safe(app_rtos_state) != 0U)
    {
      app_rtos_state->sd_task_phase = PHASE_SD_SERVICE_BUDGET;
      (void)APP_DataLog_ServiceBudget(10U);
    }

    app_rtos_state->sd_task_phase = PHASE_SD_STATUS;
    app_runtime_update_sd_log_status(app_rtos_state);
    app_rtos_state->sd_task_phase = PHASE_SD_DELAY;
    osDelay(APP_RTOS_SD_PERIOD_MS);
  }
  /* USER CODE END StartTask05 */
}

/* 私有应用程序代码 --------------------------------------------------*/

/************************ (C) COPYRIGHT STMicroelectronics *****END OF FILE****/
